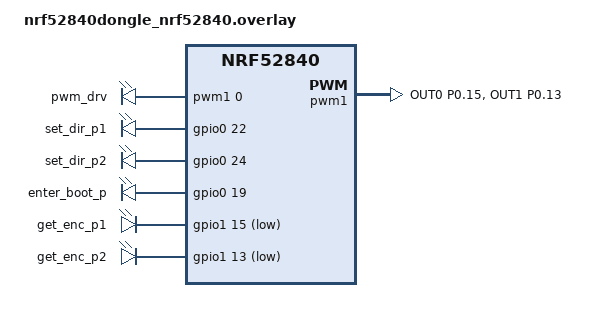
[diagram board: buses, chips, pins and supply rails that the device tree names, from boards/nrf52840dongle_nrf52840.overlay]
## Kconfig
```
# SPDX-License-Identifier: Apache-2.0
#
# Copyright (c) 2023 Maciej Baczmanski, Michal Kawiak, Jakub Mazur
#

menu "Motor controller configuration"
config GEARSHIFT_RATIO
	int "Gearshift ratio of attached motor"
	default 150

config ENC_STEPS_PER_ROTATION
	int "Number of encoder steps per one full rotation"
	default 64

config ENC_TIMER_PERIOD_MS
	int "Sampling period for continuous speed and position calculation"
	default 100

config TEMPLATE_NAME_SIZE
	int "Max size of template's name in characters"
	default 12

config SPEED_MAX_MRPM
	int "Max motor speed from motor documentation (in mili RPM - one thousands of RPM)"
	default 67000

config UART_SHELL_SUPPORT
	bool "Support for communication using uart shell - set to one to communicate via shell \
	      over uart, 0 for disabled communication"
	default y

config BT_SUPPORT
	bool "bool value, 1 if BLE is supposed to be supported, 0 if not"
	select BT
	select BT_SMP
	select BT_PERIPHERAL
	select BT_DIS
	select BT_DIS_PNP
	default y

config SUPPORTED_CHANNEL_NUMBER
	int "number of motor channels supported by the hardware"
	default 2

config KP_NUMERATOR_FOR_SPEED
	int "proportional part numerator for speed control"
	default 4

config KP_DENOMINATOR_FOR_SPEED
	int "proportional part denominator for speed control"
	default 10

config POSITION_CONTROL_MODIFIER
	int "Accuracy of position control (if value is 10 position is controlled in deca-degrees; \
	     if 100 - centi-degrees etc.)"
	default 100

config POS_CONTROL_MIN_SPEED_MODIFIER
	int "divider for minimal speed during position control. \
	     Max speed is taken and divied by this value"
	default 12

config POS_CONTROL_PRECISION_MODIFIER
	int "divider for precision of position control.\
	     Ex. 720 means that precision is 360/720 = +-0.5 degree"
	default 720


config USB_DEVICE_VID
	default 0x1915
	depends on UART_SHELL_SUPPORT

config USB_DEVICE_PID
	default 0x0000
	depends on UART_SHELL_SUPPORT

config BT_DEVICE_NAME
	string "BLE device name"
	default "Motor Controller"
	depends on BT_SUPPORT

config BT_DEVICE_APPEARANCE
	default 833
	depends on BT_SUPPORT

endmenu

source "Kconfig.zephyr"
```

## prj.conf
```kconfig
# SPDX-License-Identifier: Apache-2.0
#
# Copyright (c) 2023 Maciej Baczmanski, Michal Kawiak, Jakub Mazur
#

CONFIG_ASSERT=y
CONFIG_SHELL=y

CONFIG_GPIO=y
CONFIG_PWM=y
CONFIG_PWM_SHELL=n

# For Printk()
CONFIG_PRINTK=y
CONFIG_CONSOLE=y

# NVS
CONFIG_FLASH=y
CONFIG_FLASH_PAGE_LAYOUT=y
CONFIG_NVS=y
CONFIG_MPU_ALLOW_FLASH_WRITE=y

# Communication protocols
CONFIG_UART_SHELL_SUPPORT=y
CONFIG_BT_SUPPORT=y

# Driver specific configuration
CONFIG_SUPPORTED_CHANNEL_NUMBER=2

CONFIG_SPEED_MAX_MRPM=83000
CONFIG_GEARSHIFT_RATIO=131
CONFIG_ENC_STEPS_PER_ROTATION=64

CONFIG_BT_DEVICE_NAME="WyndkaTemplates"
```

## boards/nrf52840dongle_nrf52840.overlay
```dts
&uart0 {
	status="disabled";
};

//Hardware v 1.X

/ {
	pwmdrv {
		compatible = "pwm-leds";
		pwm_drv: pwm_drv {
			pwms = <&pwm1 0 PWM_MSEC(20) 0>,
			       <&pwm1 1 PWM_MSEC(20) 0>;
		};
	};

	gpio_pins {
		compatible = "gpio-leds";
		set_dir_p1: set_dir_p1 {
			gpios = <&gpio0 22 GPIO_ACTIVE_HIGH>,
				<&gpio1 0 GPIO_ACTIVE_HIGH>;
		};

		set_dir_p2: set_dir_p2 {
			gpios = <&gpio0 24 GPIO_ACTIVE_HIGH>,
				<&gpio0  9 GPIO_ACTIVE_HIGH>;
		};

		enter_boot_p: enter_boot_p {
			gpios = <&gpio0 19 GPIO_ACTIVE_HIGH>;
		};

		get_enc_p1: get_enc_p1 {
			gpios = <&gpio1 15 (GPIO_PULL_UP | GPIO_ACTIVE_LOW)>,
				<&gpio1 10 (GPIO_PULL_UP | GPIO_ACTIVE_LOW)>;
		};

		get_enc_p2: get_enc_p2 {
			gpios = <&gpio1 13 (GPIO_PULL_UP | GPIO_ACTIVE_LOW)>,
				<&gpio0 10 (GPIO_PULL_UP | GPIO_ACTIVE_LOW)>;
		};
	};

	aliases {
		pwm-drv = &pwm_drv;
		set-dir-p1 = &set_dir_p1;
		set-dir-p2 = &set_dir_p2;
		enter-boot-p = &enter_boot_p;
		get-enc-p1 = &get_enc_p1;
		get-enc-p2 = &get_enc_p2;
	};

};

&pinctrl{
	pwm1_default: pwm1_default {
		group1 {
			psels = <NRF_PSEL(PWM_OUT0, 0, 15)>,
				<NRF_PSEL(PWM_OUT1, 0, 13)>;
			nordic,invert;
		};
	};
	pwm1_sleep: pwm1_sleep {
		group1 {
			psels = <NRF_PSEL(PWM_OUT0, 0, 15)>,
				<NRF_PSEL(PWM_OUT1, 0, 13)>;
			low-power-enable;
		};
	};
};

&pwm1 {
	status = "okay";
	pinctrl-0 = <&pwm1_default>;
	pinctrl-1 = <&pwm1_sleep>;
	pinctrl-names = "default", "sleep";

};
```

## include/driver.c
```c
// SPDX-License-Identifier: Apache-2.0
// Copyright (c) 2023 Maciej Baczmanski, Michal Kawiak, Jakub Mazur

#include <zephyr/drivers/gpio.h>
#include <zephyr/drivers/pwm.h>
#include <zephyr/types.h>
#include <string.h>
#include "return_codes.h"
#include "driver.h"

/// Unit conversion defines
#define MIN_TO_MS 60000
#define RPM_TO_MRPM 1000

#define PINS_PER_CHANNEL 2

static const struct DriverVersion driver_ver = {
	.major = 2,
	.minor = 2,
};

/// temporary debug only variables: - To be deleted after developemnt is finished!
static uint64_t count_timer;
static int32_t ret_debug = 100;// DEBUG ONLY

#pragma region InternalFunctions// declarations of internal functions
static void enc_callback_wrapper(const struct device *dev, struct gpio_callback *cb, uint32_t pins);
static int speed_pwm_set(uint32_t value, enum ChannelNumber chnl);
static void update_speed_and_position_continuous(struct k_work *work);
static void continuous_calculation_timer_handler(struct k_timer *dummy);
static void enc_callback(enum ChannelNumber chnl, enum PinNumber pin);
static int set_direction_raw(enum MotorDirection direction, enum ChannelNumber chnl);
#pragma endregion InternalFunctions

/// CONTROL MODE - whether speed or position is controlled
static enum ControlModes control_mode = SPEED;
/// encoder timer - timer is common for both channels
struct k_timer continuous_calculation_timer;
/// driver initialized (Was init function called)?
static bool drv_initialised;

// Struct representing singular channel, including channel - dependent variables
struct DriverChannel {
	/// PINS definitions
	/// motor out
	const struct pwm_dt_spec pwm_motor_driver;
	const struct gpio_dt_spec set_dir_pins[PINS_PER_CHANNEL];
	/// enc in
	const struct gpio_dt_spec enc_pins[PINS_PER_CHANNEL];
	struct gpio_callback enc_cb[PINS_PER_CHANNEL];

	/// ENCODER - variables used for actual speed calculation based on encoder pin and
	// timer interrupts
	uint64_t count_cycles;
	uint64_t old_count_cycles;

	/// SPEED control
	uint32_t target_speed_mrpm;// Target set by user
	uint32_t actual_mrpm; // actual speed calculated from encoder pins
	uint32_t speed_control; // PID output -> pwm calculations input

	/// POSITION control
	uint32_t curr_pos;
	uint32_t target_position;

	int32_t position_delta;//TEMP

	const uint32_t max_pos;

	bool prev_val_enc[PINS_PER_CHANNEL];
	enum MotorDirection actual_dir;

	/// BOOLS - is motor on?
	bool is_motor_on; // was motor_on function called?
};

static struct DriverChannel drv_chnls[CONFIG_SUPPORTED_CHANNEL_NUMBER] = {
	{
		.max_pos = 360u * CONFIG_POSITION_CONTROL_MODIFIER,
		.pwm_motor_driver =  PWM_DT_SPEC_GET_BY_IDX(DT_ALIAS(pwm_drv), 0),
		.set_dir_pins[P0] = GPIO_DT_SPEC_GET_BY_IDX(DT_ALIAS(set_dir_p1), gpios, 0),
		.set_dir_pins[P1] = GPIO_DT_SPEC_GET_BY_IDX(DT_ALIAS(set_dir_p2), gpios, 0),
		.enc_pins[P0] = GPIO_DT_SPEC_GET_BY_IDX(DT_ALIAS(get_enc_p1), gpios, 0),
		.enc_pins[P1] = GPIO_DT_SPEC_GET_BY_IDX(DT_ALIAS(get_enc_p2), gpios, 0),
		.actual_dir = STOPPED
	},
	{
		.max_pos = 360u * CONFIG_POSITION_CONTROL_MODIFIER,
		.pwm_motor_driver =  PWM_DT_SPEC_GET_BY_IDX(DT_ALIAS(pwm_drv), 1),
		.set_dir_pins[P0] = GPIO_DT_SPEC_GET_BY_IDX(DT_ALIAS(set_dir_p1), gpios, 1),
		.set_dir_pins[P1] = GPIO_DT_SPEC_GET_BY_IDX(DT_ALIAS(set_dir_p2), gpios, 1),
		.enc_pins[P0] = GPIO_DT_SPEC_GET_BY_IDX(DT_ALIAS(get_enc_p1), gpios, 1),
		.enc_pins[P1] = GPIO_DT_SPEC_GET_BY_IDX(DT_ALIAS(get_enc_p2), gpios, 1),
		.actual_dir = STOPPED
	}
};

#if defined(CONFIG_BOARD_NRF52840DONGLE_NRF52840) // BOOT functionality
static const struct gpio_dt_spec out_boot = GPIO_DT_SPEC_GET(DT_ALIAS(enter_boot_p), gpios);
void enter_boot(void)
{
	gpio_pin_configure_dt(&out_boot, GPIO_OUTPUT);
}
#endif

// function implementations:
#pragma region TimerWorkCallback // timer interrupt internal functions
static void update_speed_and_position_continuous(struct k_work *work)
{
	for (enum ChannelNumber chnl = 0; chnl < CONFIG_SUPPORTED_CHANNEL_NUMBER; ++chnl) {
		count_timer += 1; // debug only

		uint64_t diff = 0;

		// count encoder interrupts between timer interrupts:
		if (drv_chnls[chnl].count_cycles > drv_chnls[chnl].old_count_cycles) {
			diff = drv_chnls[chnl].count_cycles - drv_chnls[chnl].old_count_cycles;
		}
		drv_chnls[chnl].old_count_cycles = drv_chnls[chnl].count_cycles;
		enum MotorDirection dir;
		int8_t pos_diff_modifier = 1;

		get_motor_actual_direction(chnl, &dir);
		if (dir == BACKWARD) {
			pos_diff_modifier = -1;
		}

		// calculate actual position
		int32_t pos_diff = (diff*drv_chnls[chnl].max_pos) /
				   (CONFIG_ENC_STEPS_PER_ROTATION * CONFIG_GEARSHIFT_RATIO);
		int32_t new_pos = (int32_t)drv_chnls[chnl].curr_pos + pos_diff_modifier * pos_diff;

		if (new_pos <= 0) {
			drv_chnls[chnl].curr_pos = (uint32_t)(drv_chnls[chnl].max_pos + new_pos);
		} else {
			drv_chnls[chnl].curr_pos = ((uint32_t)new_pos)%(drv_chnls[chnl].max_pos);
		}

		// calculate actual speed
		drv_chnls[chnl].actual_mrpm = RPM_TO_MRPM * MIN_TO_MS * diff /
			(CONFIG_ENC_STEPS_PER_ROTATION *
			CONFIG_GEARSHIFT_RATIO *
			CONFIG_ENC_TIMER_PERIOD_MS);

		// if motor is on, calculate control value
		if (get_motor_off_on(chnl)) {
			int ret;

			if (control_mode == SPEED) {
				int32_t speed_delta = drv_chnls[chnl].target_speed_mrpm -
						      drv_chnls[chnl].actual_mrpm;

				int64_t temp_modifier_num = CONFIG_KP_NUMERATOR_FOR_SPEED *
							    speed_delta;
				int32_t temp_modifier = (int32_t)(temp_modifier_num /
								  CONFIG_KP_DENOMINATOR_FOR_SPEED);

				// increase or decrese speed each iteration by Kp * speed_delta
				drv_chnls[chnl].speed_control = (uint32_t)
								(drv_chnls[chnl].speed_control +
								 temp_modifier);

				// Cap control at max rpm speed,
				// to avoid cumulation of too high speeds.
				if (drv_chnls[chnl].speed_control > CONFIG_SPEED_MAX_MRPM) {
					drv_chnls[chnl].speed_control = CONFIG_SPEED_MAX_MRPM;
				}

				ret = speed_pwm_set(drv_chnls[chnl].speed_control, chnl);
			} else if (control_mode == POSITION) {
				drv_chnls[chnl].position_delta = drv_chnls[chnl].target_position -
								 drv_chnls[chnl].curr_pos;

				bool is_target_behind = false;
				if (drv_chnls[chnl].position_delta < 0) {
					drv_chnls[chnl].position_delta =
					-drv_chnls[chnl].position_delta;
					is_target_behind = true;
				}

				// Set proper spinning direction
				if (drv_chnls[chnl].position_delta /
					CONFIG_POSITION_CONTROL_MODIFIER
						< 180) {

					if (!is_target_behind)
						set_direction_raw(FORWARD, chnl);
					else
						set_direction_raw(BACKWARD, chnl);
				} else {
					if (!is_target_behind)
						set_direction_raw(BACKWARD, chnl);
					else
						set_direction_raw(FORWARD, chnl);
				}

				// TODO - it has issues with keeping "0" position, improve!
				if (drv_chnls[chnl].position_delta >
						(drv_chnls[chnl].max_pos) /
						(CONFIG_POS_CONTROL_PRECISION_MODIFIER)) {
					// TODO - add actual PID! (instead of slow spinning!)
					drv_chnls[chnl].target_speed_mrpm =
						CONFIG_SPEED_MAX_MRPM /
						CONFIG_POS_CONTROL_MIN_SPEED_MODIFIER;
				} else {
					drv_chnls[chnl].target_speed_mrpm = 0;
				}
				ret_debug = speed_pwm_set(drv_chnls[chnl].target_speed_mrpm, chnl);
			}
		}
	}
}
K_WORK_DEFINE(speed_and_position_update_work, update_speed_and_position_continuous);
static void continuous_calculation_timer_handler(struct k_timer *dummy)
{
	k_work_submit(&speed_and_position_update_work);
}
K_TIMER_DEFINE(continuous_calculation_timer, continuous_calculation_timer_handler, NULL);
#pragma endregion TimerWorkCallback

// encoder functions
static void enc_callback(enum ChannelNumber chnl, enum PinNumber pin)
{
	// TODO - maybe split this callback to two callbacks, for P1 and P0:
	// what if motor is stuck and hitting one enc. from two directions?
	// How will speed calculation behave if motor will keep changing position?
	// (ex. when setting position?)
	drv_chnls[chnl].count_cycles += 1;

	if (drv_chnls[chnl].actual_mrpm == 0) {
		drv_chnls[chnl].actual_dir = STOPPED;
		return;
	}

	if (pin == P0) {
		if (drv_chnls[chnl].prev_val_enc[P0] == drv_chnls[chnl].prev_val_enc[P1]) {
			drv_chnls[chnl].actual_dir = BACKWARD;
		} else {
			drv_chnls[chnl].actual_dir = FORWARD;
		}
	}
}

static void enc_callback_wrapper(const struct device *dev, struct gpio_callback *cb, uint32_t pins)
{
	for (int channel = 0; channel < CONFIG_SUPPORTED_CHANNEL_NUMBER; ++channel) {
		for (int pin = 0; pin < PINS_PER_CHANNEL; ++pin) {
			if ((pins & BIT(drv_chnls[channel].enc_pins[pin].pin)) &&
			    dev == drv_chnls[channel].enc_pins[pin].port) {

				// printk("CH:%d, P:%d\n", channel, pin);

				drv_chnls[channel].prev_val_enc[pin] =
					gpio_pin_get(dev, drv_chnls[channel].enc_pins[pin].pin);
				enc_callback(channel, pin);
			}
		}
	}
}

// init motor
void init_pwm_motor_driver(void)
{
	for (unsigned int channel = 0; channel < CONFIG_SUPPORTED_CHANNEL_NUMBER; channel++) {

		__ASSERT(device_is_ready(drv_chnls[channel].pwm_motor_driver.dev),
			 "PWM Driver not ready!");

		__ASSERT_EVAL((void) pwm_set_pulse_dt(&(drv_chnls[channel].pwm_motor_driver), 0),
			int r = pwm_set_pulse_dt(&(drv_chnls[channel].pwm_motor_driver), 0),
			!r, "Unable to set PWM!");

		for (uint8_t pin = 0; pin < 2; ++pin) {
			__ASSERT(gpio_is_ready_dt(&(drv_chnls[channel].set_dir_pins[pin])),
				 "Direction Pin %d on channel %d not ready!",
				 pin, channel);

			__ASSERT_EVAL((void) gpio_pin_configure_dt(
							&(drv_chnls[channel].set_dir_pins[pin]),
							GPIO_OUTPUT_LOW),
				int r = gpio_pin_configure_dt(
							&(drv_chnls[channel].set_dir_pins[pin]),
							GPIO_OUTPUT_LOW),
				!r, "Unable to configure direction Pin %d on channel %d!",
				pin, channel);
		}

#if defined(CONFIG_BOARD_NRF52840DONGLE_NRF52840)
		__ASSERT(gpio_is_ready_dt(&out_boot),
			 "GPIO Boot pin not ready!");
#endif

		for (int pin = 0; pin < 2; ++pin) {
			__ASSERT(gpio_is_ready_dt(&(drv_chnls[channel].enc_pins[pin])),
				 "Encoder Pin %d on channel %d not ready!",
				 pin, channel);

			__ASSERT_EVAL((void) gpio_pin_configure_dt(
							&(drv_chnls[channel].enc_pins[pin]),
							GPIO_INPUT),
				int r = gpio_pin_configure_dt(
							&(drv_chnls[channel].enc_pins[pin]),
							GPIO_INPUT),
				!r, "Unable to configure Encoder pin %d on channel %d!",
				pin, channel);

			__ASSERT_EVAL((void) gpio_pin_interrupt_configure_dt(
							&(drv_chnls[channel].enc_pins[pin]),
							GPIO_INT_EDGE_BOTH),
				int r = gpio_pin_interrupt_configure_dt(
							&(drv_chnls[channel].enc_pins[pin]),
							GPIO_INT_EDGE_BOTH),
				!r, "Unable to configure Encoder pin %d on channel %d!",
				pin, channel);

			drv_chnls[channel].prev_val_enc[pin] =
				gpio_pin_get(drv_chnls[channel].enc_pins[pin].port,
							 drv_chnls[channel].enc_pins[pin].pin);

			gpio_init_callback(&(drv_chnls[channel].enc_cb[pin]),
						enc_callback_wrapper,
						BIT(drv_chnls[channel].enc_pins[pin].pin));
			gpio_add_callback(drv_chnls[channel].enc_pins[pin].port,
						&(drv_chnls[channel].enc_cb[pin]));
		}
	}

	k_timer_start(&continuous_calculation_timer, K_MSEC(CONFIG_ENC_TIMER_PERIOD_MS),
		      K_MSEC(CONFIG_ENC_TIMER_PERIOD_MS));

	drv_initialised = true;
}

return_codes_t motor_on(enum MotorDirection direction, enum ChannelNumber chnl)
{
	int ret;

	if (!drv_initialised) {
		return ERR_NOT_INITIALISED;
	}

	// TODO - change direction during spinning

	if (drv_chnls[chnl].is_motor_on) {
		// Motor is already on, no need for starting it again
		return SUCCESS;
	}

	drv_chnls[chnl].speed_control = 0;
	drv_chnls[chnl].count_cycles = 0;
	drv_chnls[chnl].old_count_cycles = 0;

	ret = set_direction_raw(direction, chnl);

	if (ret != SUCCESS) {
		return ret;
	}

	drv_chnls[chnl].is_motor_on = true;

	return SUCCESS;
}
return_codes_t motor_off(enum ChannelNumber chnl)
{
	int ret;

	if (!drv_initialised) {
		return ERR_NOT_INITIALISED;
	}

	if (!drv_chnls[chnl].is_motor_on) {
		// Motor is already off, no need for stopping it again
		return SUCCESS;
	}

	if (drv_initialised) {
		ret = gpio_pin_set_dt(&(drv_chnls[chnl].set_dir_pins[P0]), 0);

		if (ret != 0) {
			return ERR_UNABLE_TO_SET_GPIO;
		}
		ret = gpio_pin_set_dt(&(drv_chnls[chnl].set_dir_pins[P1]), 0);
		if (ret != 0) {
			return ERR_UNABLE_TO_SET_GPIO;
		}
		drv_chnls[chnl].is_motor_on = false;
		return SUCCESS;
	}

	return ERR_NOT_INITIALISED;
}

bool get_motor_off_on(enum ChannelNumber chnl)
{
	return drv_chnls[chnl].is_motor_on;
}

static int set_direction_raw(enum MotorDirection direction, enum ChannelNumber chnl)
{
	int ret;

	if (direction == STOPPED) {
		return ERR_INVALID_ARGUMENT;
	}

	ret = gpio_pin_set_dt(&(drv_chnls[chnl].set_dir_pins[P0]), direction == FORWARD);
	if (ret != 0) {
		return ERR_UNABLE_TO_SET_GPIO;
	}

	ret = gpio_pin_set_dt(&(drv_chnls[chnl].set_dir_pins[P1]), direction != FORWARD);
	if (ret != 0) {
		return ERR_UNABLE_TO_SET_GPIO;
	}
	return SUCCESS;
}

int get_motor_actual_direction(enum ChannelNumber chnl, enum MotorDirection *out_dir)
{
	if (!drv_initialised) {
		return ERR_NOT_INITIALISED;
	}

	*out_dir = drv_chnls[chnl].actual_dir;

	return SUCCESS;
}

static int speed_pwm_set(uint32_t value, enum ChannelNumber chnl)
{
	int ret;

	if (!drv_initialised) {
		return ERR_NOT_INITIALISED;
	}

	if (value > CONFIG_SPEED_MAX_MRPM) {
		return ERR_DESIRED_VALUE_TO_HIGH;
	}

	if (drv_chnls[chnl].target_speed_mrpm < CONFIG_POS_CONTROL_MIN_SPEED_MODIFIER ) {
		value = 0;
		drv_chnls[chnl].speed_control = 0;
	}

	uint64_t w_1 = drv_chnls[chnl].pwm_motor_driver.period * (uint64_t)value;
	uint32_t w = value != 0 ? (uint32_t)(w_1 / CONFIG_SPEED_MAX_MRPM) : 0;

	ret = pwm_set_pulse_dt(&(drv_chnls[chnl].pwm_motor_driver), w);
	if (ret != 0) {
		return ERR_UNABLE_TO_SET_PWM;
	}

	return SUCCESS;
}
return_codes_t target_speed_set(uint32_t value, enum ChannelNumber chnl)
{
	if (control_mode != SPEED) {
		return ERR_UNSUPPORTED_FUNCTION_IN_CURRENT_MODE;
	}
	drv_chnls[chnl].target_speed_mrpm = value;
	drv_chnls[chnl].count_cycles = 0;
	drv_chnls[chnl].old_count_cycles = 0;
	return SUCCESS;
}
return_codes_t speed_get(enum ChannelNumber chnl, uint32_t *value)
{
	if (drv_initialised) {
		*value = drv_chnls[chnl].actual_mrpm; // TODO - get speed from encoder
		return SUCCESS;
	}

	return ERR_NOT_INITIALISED;
}
uint32_t speed_target_get(enum ChannelNumber chnl)
{
	return drv_chnls[chnl].target_speed_mrpm;
}
uint32_t get_current_max_speed(void)
{
	return CONFIG_SPEED_MAX_MRPM;
}

return_codes_t target_position_set(uint32_t new_target_position, enum ChannelNumber chnl)
{
	if (!drv_initialised) {
		return ERR_NOT_INITIALISED;
	}

	if (control_mode != POSITION) {
		return ERR_UNSUPPORTED_FUNCTION_IN_CURRENT_MODE;
	}

	drv_chnls[chnl].target_position = new_target_position;
	return SUCCESS;
}
return_codes_t position_get(uint32_t *value, enum ChannelNumber chnl)
{
	if (!drv_initialised) {
		return ERR_NOT_INITIALISED;
	}

	*value = drv_chnls[chnl].curr_pos;
	return SUCCESS;
}

return_codes_t mode_set(enum ControlModes new_mode)
{
	if (!drv_initialised) {
		return ERR_NOT_INITIALISED;
	}

	control_mode = new_mode;
	return SUCCESS;
}
return_codes_t mode_get(enum ControlModes *value)
{
	if (!drv_initialised) {
		return ERR_NOT_INITIALISED;
	}

	*value = control_mode;
	return SUCCESS;
}

// TODO - remove, use shell arguments instead
return_codes_t get_control_mode_from_string(char *str_control_mode, enum ControlModes *ret_value)
{
	if (strcmp(str_control_mode, "speed") == 0) {
		*ret_value = SPEED;
		return SUCCESS;
	} else if (strcmp(str_control_mode, "position") == 0 ||
		  strcmp(str_control_mode, "pos") == 0) {

		*ret_value = POSITION;
		return SUCCESS;
	} else {
		return ERR_VALUE_CONVERSION_ERROR;
	}
}

// TODO - remove, use shell arguments instead
return_codes_t get_control_mode_as_string(enum ControlModes control_mode, char **ret_value)
{
	if (control_mode == SPEED) {
		*ret_value = "Speed";
		return SUCCESS;
	} else if (control_mode == POSITION) {
		*ret_value = "Position";
		return SUCCESS;
	} else {
		return ERR_VALUE_CONVERSION_ERROR;
	}
}

#pragma region DebugFunctions
uint64_t get_cycles_count_DEBUG(void)
{
	return drv_chnls[CH0].count_cycles;
}

uint64_t get_time_cycles_count_DEBUG(void)
{
	return count_timer;
}

int32_t get_ret_DEBUG(void)
{
	return ret_debug;
}

uint32_t get_calc_speed_DEBUG(void)
{
	return drv_chnls[CH0].speed_control;
}

uint32_t get_target_pos_DEBUG(void)
{
	return drv_chnls[CH0].target_position;
}

int32_t get_pos_d_DEBUG(void)
{
	return drv_chnls[CH0].position_delta;
}
#pragma endregion DebugFunctions

struct DriverVersion get_driver_version(void)
{
	return driver_ver;
}
```
